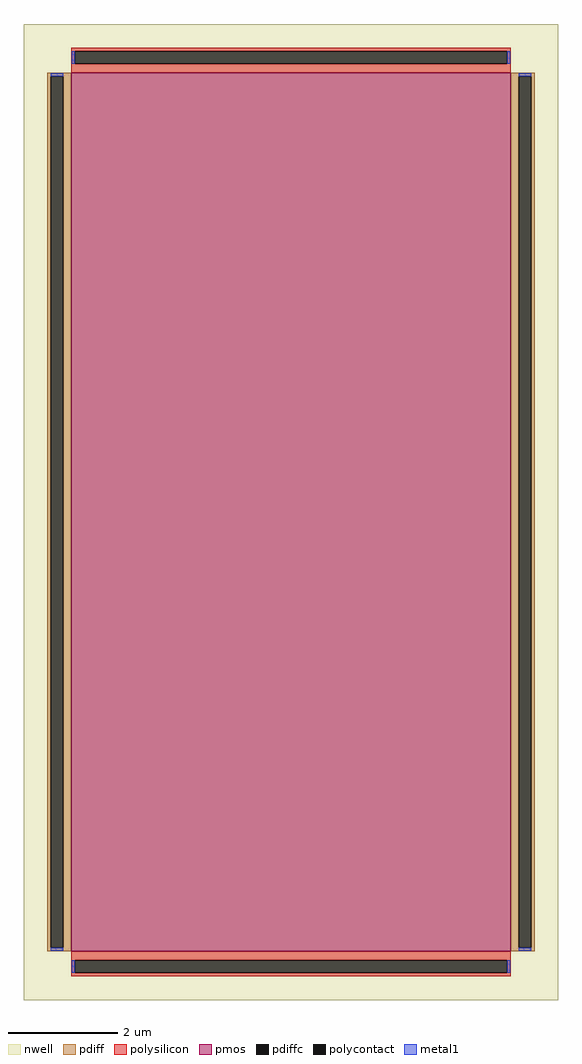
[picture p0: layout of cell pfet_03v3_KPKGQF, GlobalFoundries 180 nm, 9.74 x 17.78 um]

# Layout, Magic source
magic
tech gf180mcuD
magscale 1 10
<< nwell >>
rect -974 -1778 974 1778
<< pmos >>
rect -800 -1600 800 1600
<< pdiff >>
rect -888 1587 -800 1600
rect -888 -1587 -875 1587
rect -829 -1587 -800 1587
rect -888 -1600 -800 -1587
rect 800 1587 888 1600
rect 800 -1587 829 1587
rect 875 -1587 888 1587
rect 800 -1600 888 -1587
<< pdiffc >>
rect -875 -1587 -829 1587
rect 829 -1587 875 1587
<< polysilicon >>
rect -800 1679 800 1692
rect -800 1633 -787 1679
rect 787 1633 800 1679
rect -800 1600 800 1633
rect -800 -1633 800 -1600
rect -800 -1679 -787 -1633
rect 787 -1679 800 -1633
rect -800 -1692 800 -1679
<< polycontact >>
rect -787 1633 787 1679
rect -787 -1679 787 -1633
<< metal1 >>
rect -798 1633 -787 1679
rect 787 1633 798 1679
rect -875 1587 -829 1598
rect -875 -1598 -829 -1587
rect 829 1587 875 1598
rect 829 -1598 875 -1587
rect -798 -1679 -787 -1633
rect 787 -1679 798 -1633
<< properties >>
string gencell pfet_03v3
string library gf180mcu
string parameters w 16 l 8 m 1 nf 1 diffcov 100 polycov 100 guard 0 glc 0 grc 0 gtc 0 gbc 0 tbcov 100 rlcov 100 topc 1 botc 1 poverlap 0 doverlap 1 lmin 0.28 wmin 0.22 class mosfet full_metal 0 compatible {pfet_03v3 pfet_05v0 pfet_06v0}
<< end >>
